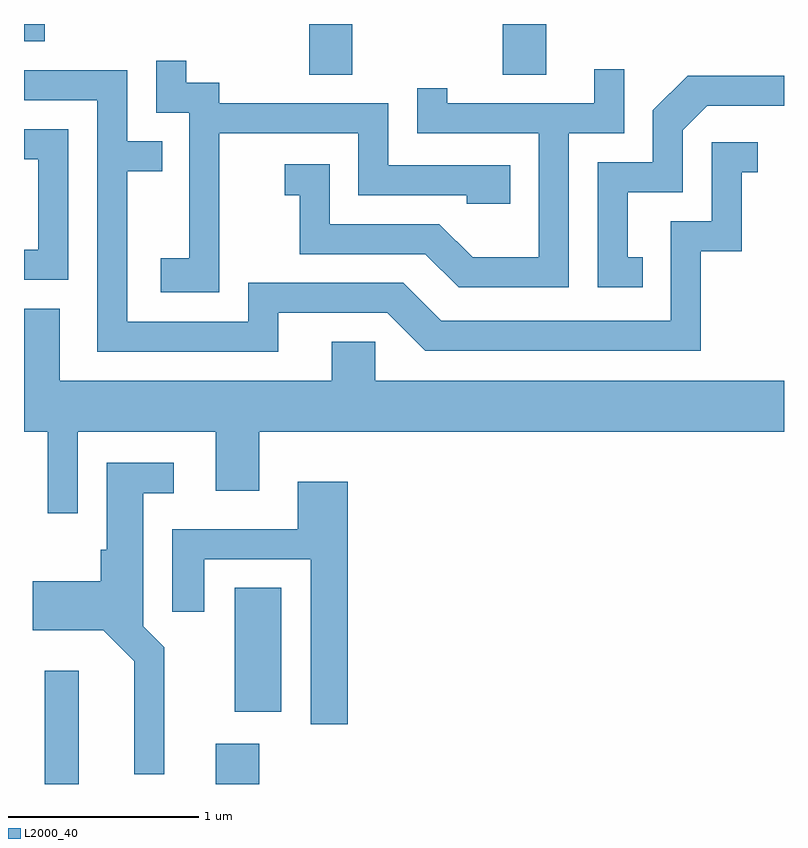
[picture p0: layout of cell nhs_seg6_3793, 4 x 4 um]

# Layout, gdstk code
import gdstk
lib = gdstk.Library(unit=1e-6, precision=1e-09)
def R(c, l, rs):  # rectangles x0, y0, x1, y1
    for r in rs: c.add(gdstk.rectangle(r[:2], r[2:], *l))
def P(c, l, *ps):  # polygons
    for p in ps: c.add(gdstk.Polygon(p, *l))
L2000_40 = (2000, 40)

nhs_seg6_3793 = lib.new_cell('nhs_seg6_3793')
R(nhs_seg6_3793, L2000_40, [(299.721,1568.162,299.899,1568.759), (300.621,1568.162,300.849,1568.374), (300.721,1568.541,300.964,1569.194), (301.111,1571.896,301.339,1572.162), (302.131,1571.896,302.359,1572.162), (299.611,1572.071,299.719,1572.162)])
P(nhs_seg6_3793, L2000_40, [(300.639,1571.586),(301.371,1571.586),(301.371,1571.261),(301.941,1571.261),(301.941,1571.216),(302.169,1571.216),(302.169,1571.419),(301.529,1571.419),(301.529,1571.744),(300.639,1571.744),(300.639,1571.854),(300.464,1571.854),(300.464,1571.968),(300.306,1571.968),(300.306,1571.696),(300.481,1571.696),(300.481,1570.929),(300.331,1570.929),(300.331,1570.751),(300.639,1570.751)],
  [(302.479,1571.586),(302.769,1571.586),(302.769,1571.923),(302.611,1571.923),(302.611,1571.744),(301.839,1571.744),(301.839,1571.823),(301.681,1571.823),(301.681,1571.586),(302.321,1571.586),(302.321,1570.934),(301.972,1570.934),(301.797,1571.109),(301.219,1571.109),(301.219,1571.424),(300.983,1571.424),(300.983,1571.261),(301.061,1571.261),(301.061,1570.951),(301.724,1570.951),(301.899,1570.776),(302.479,1570.776)],
  [(300.949,1570.641),(301.524,1570.641),(301.724,1570.441),(303.174,1570.441),(303.174,1570.966),(303.389,1570.966),(303.389,1571.381),(303.473,1571.381),(303.473,1571.539),(303.231,1571.539),(303.231,1571.124),(303.016,1571.124),(303.016,1570.599),(301.807,1570.599),(301.607,1570.799),(300.791,1570.799),(300.791,1570.594),(300.154,1570.594),(300.154,1571.386),(300.338,1571.386),(300.338,1571.544),(300.154,1571.544),(300.154,1571.919),(299.611,1571.919),(299.611,1571.761),(299.996,1571.761),(299.996,1570.436),(300.949,1570.436)],
  [(302.868,1570.934),(302.789,1570.934),(302.789,1571.276),(303.079,1571.276),(303.079,1571.604),(303.207,1571.731),(303.611,1571.731),(303.611,1571.889),(303.104,1571.889),(302.921,1571.707),(302.921,1571.434),(302.631,1571.434),(302.631,1570.776),(302.868,1570.776)],
  [(299.844,1571.609),(299.611,1571.609),(299.611,1571.451),(299.686,1571.451),(299.686,1570.974),(299.611,1570.974),(299.611,1570.816),(299.844,1570.816)],
  [(299.894,1570.016),(300.621,1570.016),(300.621,1569.706),(300.849,1569.706),(300.849,1570.016),(303.611,1570.016),(303.611,1570.284),(301.459,1570.284),(301.459,1570.489),(301.231,1570.489),(301.231,1570.284),(299.799,1570.284),(299.799,1570.664),(299.611,1570.664),(299.611,1570.016),(299.736,1570.016),(299.736,1569.588),(299.894,1569.588)],
  [(300.349,1568.882),(300.239,1568.992),(300.239,1569.691),(300.398,1569.691),(300.398,1569.854),(300.046,1569.854),(300.046,1569.394),(300.016,1569.394),(300.016,1569.229),(299.656,1569.229),(299.656,1568.971),(300.029,1568.971),(300.191,1568.809),(300.191,1568.213),(300.349,1568.213)],
  [(301.314,1569.754),(301.051,1569.754),(301.051,1569.504),(300.391,1569.504),(300.391,1569.068),(300.559,1569.068),(300.559,1569.346),(301.121,1569.346),(301.121,1568.476),(301.314,1568.476)])

lib.write_gds('nhs_seg6_3793.gds')
